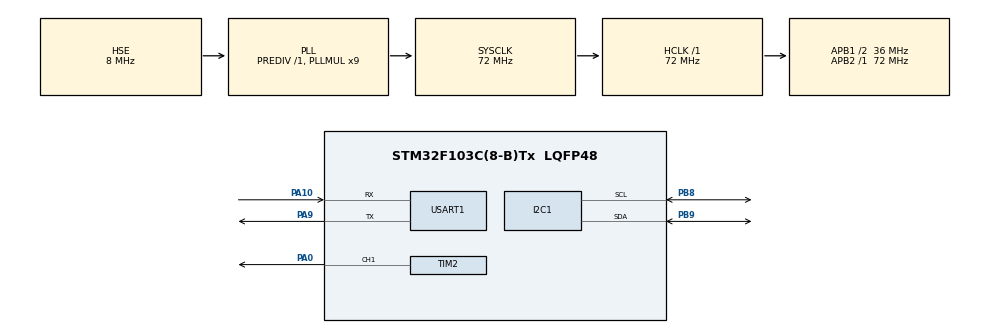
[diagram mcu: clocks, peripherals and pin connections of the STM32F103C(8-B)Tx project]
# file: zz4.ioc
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Mcu.Family=STM32F1
Mcu.Name=STM32F103C(8-B)Tx
Mcu.Package=LQFP48
NVIC.PriorityGroup=NVIC_PRIORITYGROUP_4
NVIC.USART1_IRQn=true\:0\:0\:false\:false\:true\:true\:true\:true
PA0-WKUP.Signal=S_TIM2_CH1_ETR
PA10.GPIO_PuPd=GPIO_PULLUP
PA10.Mode=Asynchronous
PA10.Signal=USART1_RX
PA13.Mode=Serial_Wire
PA13.Signal=SYS_JTMS-SWDIO
PA14.Mode=Serial_Wire
PA14.Signal=SYS_JTCK-SWCLK
PA9.Mode=Asynchronous
PA9.Signal=USART1_TX
PB8.Mode=I2C
PB8.Signal=I2C1_SCL
PB9.Mode=I2C
PB9.Signal=I2C1_SDA
PC14-OSC32_IN.Mode=LSE-External-Oscillator
PC14-OSC32_IN.Signal=RCC_OSC32_IN
PC15-OSC32_OUT.Mode=LSE-External-Oscillator
PC15-OSC32_OUT.Signal=RCC_OSC32_OUT
PD0-OSC_IN.Mode=HSE-External-Oscillator
PD0-OSC_IN.Signal=RCC_OSC_IN
PD1-OSC_OUT.Mode=HSE-External-Oscillator
PD1-OSC_OUT.Signal=RCC_OSC_OUT
ProjectManager.HeapSize=0x200
ProjectManager.StackSize=0x400
ProjectManager.TargetToolchain=STM32CubeIDE
RCC.AHBFreq_Value=72000000
RCC.APB1CLKDivider=RCC_HCLK_DIV2
RCC.APB1Freq_Value=36000000
RCC.APB1TimFreq_Value=72000000
RCC.APB2Freq_Value=72000000
RCC.APB2TimFreq_Value=72000000
RCC.HCLKFreq_Value=72000000
RCC.PLLMUL=RCC_PLL_MUL9
RCC.PLLSourceVirtual=RCC_PLLSOURCE_HSE
RCC.SYSCLKFreq_VALUE=72000000
RCC.SYSCLKSource=RCC_SYSCLKSOURCE_PLLCLK
RCC.USBFreq_Value=72000000
SH.S_TIM2_CH1_ETR.0=TIM2_CH1,PWM Generation1 CH1
TIM2.AutoReloadPreload=TIM_AUTORELOAD_PRELOAD_ENABLE
TIM2.Channel-PWM\ Generation1\ CH1=TIM_CHANNEL_1
TIM2.Period=19999
TIM2.Prescaler=71
USART1.VirtualMode=VM_ASYNC
VP_TIM2_VS_ClockSourceINT.Mode=Internal
board=custom

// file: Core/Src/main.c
/* USER CODE BEGIN Header */
/**
  ******************************************************************************
  * @file           : main.c
  * @brief          : Main program body
  ******************************************************************************
  * @attention
  *
  * Copyright (c) 2026 STMicroelectronics.
  * All rights reserved.
  *
  * This software is licensed under terms that can be found in the LICENSE file
  * in the root directory of this software component.
  * If no LICENSE file comes with this software, it is provided AS-IS.
  *
  ******************************************************************************
  */
/* USER CODE END Header */
#include "main.h"
#include "i2c.h"
#include "tim.h"
#include "usart.h"
#include "gpio.h"

/* USER CODE BEGIN Includes */
#include <stdio.h>
#include "OLED.h"

/* USER CODE END Includes */

void SystemClock_Config(void);
/* USER CODE BEGIN PFP */
uint16_t AngleToCCR(float angle);
void Servo_SetAngle(float angle);
void OLED_show(void);
int _write(int fd, char *ptr, int len);
/* USER CODE END PFP */

/* USER CODE BEGIN 0 */
/* 角度 → CCR
 * 0° = 500us，180° = 2500us
 * 因为 PSC/ARR 已配成 1 个计数 = 1us，所以 CCR 数值 = 脉宽(us)
 */
uint16_t AngleToCCR(float angle)
{
  if (angle < 2.0f)   angle = 2.0f;
  if (angle > 178.0f) angle = 178.0f;

  /* TODO 1：两端各留 2° 余量，把 0 和 180 换成 2 和 178 */
  return (uint16_t)(500.0f + angle / 180.0f * 2000.0f);
}
void Servo_SetAngle(float angle)
{
  uint16_t ccr = AngleToCCR(angle);
  __HAL_TIM_SET_COMPARE(&htim2, TIM_CHANNEL_1, ccr);
}
void  OLED_ShowAll(float target) {
  uint16_t ccr = AngleToCCR(target);
  OLED_ShowString(1,1,"Target:");
  OLED_ShowNum(1,9,(uint32_t)target,3);
  OLED_ShowString(1,12,"deg");

  OLED_ShowString(2,1,"CCR :");
  OLED_ShowNum(2,9,ccr,4);

  OLED_ShowString(3,1,"Pluse:");
  OLED_ShowNum(3,9,ccr/1000,1);
  OLED_ShowString(3,10,".");
OLED_ShowNum(3,11,ccr%1000,3);
  OLED_ShowString(3,14,"ms");

}

int _write(int fd, char *ptr, int len)
{
  HAL_UART_Transmit(&huart1, (uint8_t *)ptr, len, 100);
  return len;
}
static void WaitAndEchoUart(uint32_t durationMs)
{
  uint8_t received[32];
  const uint32_t start = HAL_GetTick();

  while (HAL_GetTick() - start < durationMs)
  {
    uint16_t count = USART1_ReadRx(received, sizeof(received));
    if (count != 0U)
    {
      (void)HAL_UART_Transmit(&huart1, received, count, 10U);
    }
  }
}

/* USER CODE END 0 */

int main(void)
{

  /* MCU Configuration--------------------------------------------------------*/

  /* Reset of all peripherals, Initializes the Flash interface and the Systick. */
  HAL_Init();

  /* Configure the system clock */
  SystemClock_Config();

  /* Initialize all configured peripherals */
  MX_GPIO_Init();
  MX_I2C1_Init();
  MX_TIM2_Init();
  MX_USART1_UART_Init();
  /* USER CODE BEGIN 2 */
  Servo_SetAngle(90.0f);
  if (HAL_TIM_PWM_Start(&htim2, TIM_CHANNEL_1) != HAL_OK)
  {
    Error_Handler();
  }
  OLED_Init();
  /* USER CODE END 2 */

  /* Infinite loop */
  while (1)
  {

    /* USER CODE BEGIN 3 */
    const float seq[5] = {0.0f, 45.0f, 90.0f, 135.0f, 180.0f};

    for (int i = 0; i < 5; i++) {
      float target = seq[i];
      uint16_t ccr = AngleToCCR(target);

      Servo_SetAngle(seq[i]);
      OLED_ShowAll(seq[i]);          /* Step 6 里封好的显示函数 */
      printf("Target=%3d  CCR=%4d  Pulse=%d.%03dms\r\n",
       (int)target, ccr, ccr / 1000, ccr % 1000);                   /* Step 7 的打印 */
      WaitAndEchoUart(1000U);
    }

  }
  /* USER CODE END 3 */
}

void SystemClock_Config(void)
{
  RCC_OscInitTypeDef RCC_OscInitStruct = {0};
  RCC_ClkInitTypeDef RCC_ClkInitStruct = {0};

  /** Initializes the RCC Oscillators according to the specified parameters
  * in the RCC_OscInitTypeDef structure.
  */
  RCC_OscInitStruct.OscillatorType = RCC_OSCILLATORTYPE_HSE;
  RCC_OscInitStruct.HSEState = RCC_HSE_ON;
  RCC_OscInitStruct.HSEPredivValue = RCC_HSE_PREDIV_DIV1;
  RCC_OscInitStruct.HSIState = RCC_HSI_ON;
  RCC_OscInitStruct.PLL.PLLState = RCC_PLL_ON;
  RCC_OscInitStruct.PLL.PLLSource = RCC_PLLSOURCE_HSE;
  RCC_OscInitStruct.PLL.PLLMUL = RCC_PLL_MUL9;
  if (HAL_RCC_OscConfig(&RCC_OscInitStruct) != HAL_OK)
  {
    Error_Handler();
  }

  /** Initializes the CPU, AHB and APB buses clocks
  */
  RCC_ClkInitStruct.ClockType = RCC_CLOCKTYPE_HCLK|RCC_CLOCKTYPE_SYSCLK
                              |RCC_CLOCKTYPE_PCLK1|RCC_CLOCKTYPE_PCLK2;
  RCC_ClkInitStruct.SYSCLKSource = RCC_SYSCLKSOURCE_PLLCLK;
  RCC_ClkInitStruct.AHBCLKDivider = RCC_SYSCLK_DIV1;
  RCC_ClkInitStruct.APB1CLKDivider = RCC_HCLK_DIV2;
  RCC_ClkInitStruct.APB2CLKDivider = RCC_HCLK_DIV1;

  if (HAL_RCC_ClockConfig(&RCC_ClkInitStruct, FLASH_LATENCY_2) != HAL_OK)
  {
    Error_Handler();
  }
}

void Error_Handler(void)
{
  __disable_irq();
  while (1)
  {
  }
}
